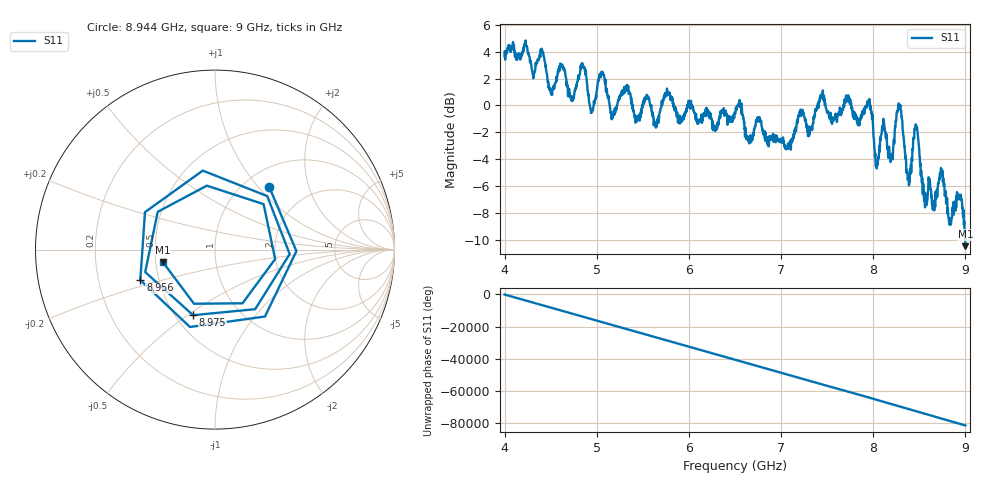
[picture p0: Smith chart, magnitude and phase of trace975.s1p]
! Created with skrf 1.8.0 (http://scikit-rf.org).
# Hz S RI R 50.0
!freq ReS11 ImS11
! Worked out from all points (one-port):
!   1601 points, 4 GHz to 9 GHz, reference 50 ohm
!   lowest |S11| = -10.5 dB at 9 GHz (marker M1), VSWR 1.85, Z = 27.2 - j4.11 ohm
!   |S11| at or under -10 dB: 8.997878 GHz to end of sweep
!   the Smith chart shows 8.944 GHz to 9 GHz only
!   S11 on the Smith chart (normalised r, x): 8.944 GHz: 1.30, +1.15; 8.956 GHz: 0.39, -0.17; 8.975 GHz: 0.61, -0.52; 9 GHz: 0.54, -0.08
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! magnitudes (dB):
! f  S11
! 4 GHz  3.7
! 4.406 GHz  4.1
! 4.503 GHz  0.9
! 4.625 GHz  3.0
! 4.728 GHz  0.7
! 4.85 GHz  2.8
! 4.941 GHz  -0.4
! 5.053 GHz  2.5
! 5.169 GHz  -1.0
! 5.25 GHz  0.7
! 5.875 GHz  -0.8
! 6.5 GHz  -0.6
! 7.125 GHz  -2.5
! 7.441 GHz  0.8
! 7.75 GHz  0.4
! 7.959 GHz  0.5
! 8.038 GHz  -4.7
! 8.109 GHz  -1.0
! 8.203 GHz  -4.0
! 8.284 GHz  -0.1
! 8.375 GHz  -5.5
! 8.466 GHz  -1.6
! 8.562 GHz  -7.6
! 8.738 GHz  -4.7
! 8.944 GHz  -6.7
! 8.956 GHz  -6.9
! 8.975 GHz  -8.3
! 9 GHz  -10.5
